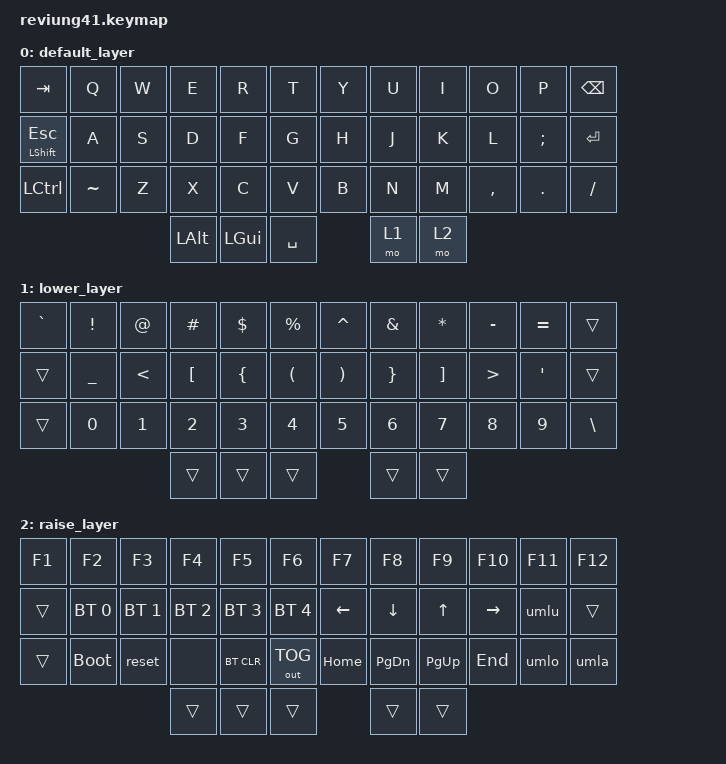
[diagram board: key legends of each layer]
/*
 * Copyright (c) 2020 The ZMK Contributors
 *
 * SPDX-License-Identifier: MIT
 */

#include <behaviors.dtsi>
#include <dt-bindings/zmk/keys.h>
#include <dt-bindings/zmk/bt.h>
#include <dt-bindings/zmk/rgb.h>
#include <dt-bindings/zmk/outputs.h>

/ {
  behavior {
    umla: umla {
      label = "umla";
      compatible = "zmk,behavior-macro";
      #binding-cells = <0>;
      bindings = <&macro_tap_time 20>
               , <&kp RALT>, <&kp DQT>, <&kp A>;
    };
    umlu: umlu {
      label = "umlu";
      compatible = "zmk,behavior-macro";
      #binding-cells = <0>;
      bindings = <&macro_tap_time 20>
               , <&kp RALT>, <&kp DQT>, <&kp U>;
    };
    umlo: umlo {
      label = "umlo";
      compatible = "zmk,behavior-macro";
      #binding-cells = <0>;
      bindings = <&macro_tap_time 20>
               ,  <&kp RALT>, <&kp DQT>, <&kp O>;
    };
  };

        keymap {
                compatible = "zmk,keymap";

                default_layer {
// -------------------------------------------------------------------------------------
// |    TAB    |  Q  |  W  |  E  |  R  |  T  |   |  Y  |  U   |  I  |  O  |  P  | BKSP|
// | SHFT(ESC) |  A  |  S  |  D  |  F  |  G  |   |  H  |  J   |  K  |  L  |  ;  | Ret |
// |    CTRL   |  ~  |  Z  |  X  |  C  |  V  |   |  B  |  N  |  M   |  ,  |  .  |  /  |
//                              | ALT | LWR | SPC | RSE  | ALT |
                        bindings = <
   &kp TAB        &kp Q      &kp W   &kp E   &kp R &kp T       &kp Y   &kp U   &kp I   &kp O      &kp P      &kp BSPC
   &mt LSHFT ESC  &kp A      &kp S   &kp D   &kp F &kp G       &kp H   &kp J   &kp K   &kp L      &kp SEMI   &kp RET
   &kp LCTRL      &kp TILDE  &kp Z   &kp X   &kp C &kp V       &kp B   &kp N   &kp M   &kp COMMA  &kp DOT    &kp FSLH
                                  &kp LALT   &kp LGUI   &kp SPACE   &mo 1    &mo 2
                        >;
                };

                lower_layer {
// ----------------------------------------------------------------------------------
// |  `  |  !  |  @  |  #  |  $  |  %  |   |  ^  |  &  |  *  |  -  |  +  | BKSP|
// |     |  _  |  <  |  [  |  {  |  (  |   |  )  |  }  |  ]  |  >  |  "  | RET |
// |     |  1  |  2  |  3  |  4  |  5  |   |  6  |  7  |  8  |  9  |  0  |  \  |
//                        | ALT | LWR | SPC | RSE  | ALT |
                        bindings = <
   &kp GRAVE  &kp EXCL   &kp AT  &kp HASH  &kp DLLR  &kp PRCNT      &kp CARET  &kp AMPS &kp STAR  &kp MINUS  &kp EQUAL &trans
   &trans     &kp UNDER  &kp LT  &kp LBKT  &kp LBRC  &kp LPAR       &kp RPAR   &kp RBRC &kp RBKT  &kp GT     &kp SQT   &trans
   &trans     &kp N0     &kp N1  &kp N2    &kp N3    &kp N4         &kp N5     &kp N6   &kp N7    &kp N8     &kp N9    &kp BSLH
                                  &trans   &trans   &trans   &trans   &trans
                        >;
                };

                raise_layer {
// ----------------------------------------------------------------------------------------
// | F1  | F2  | F3  | F4  | F5  | F6  |   | F7  | F8  | F9  | F10 | F11 | F12 |
// |     | BT0 | BT1 | BT2 | BT3 | BT4 |   | LFT | DWN | UP  | RGT |     |     |
// |     | boot| rst |     | CLR | TOG |   | HOME| PGDN| PGUP| ENA |     |     |
//                        | ALT | LWR | SPC | RSE  | ALT |
                        bindings = <
   &kp F1  &kp F2        &kp F3        &kp F4        &kp F5        &kp F6            &kp F7      &kp F8     &kp F9     &kp F10    &kp F11  &kp F12
   &trans  &bt BT_SEL 0  &bt BT_SEL 1  &bt BT_SEL 2  &bt BT_SEL 3  &bt BT_SEL 4      &kp LEFT    &kp DOWN   &kp UP     &kp RIGHT  &umlu    &trans
   &trans  &bootloader   &reset        &none         &bt BT_CLR    &out OUT_TOG      &kp HOME    &kp PG_DN  &kp PG_UP  &kp END    &umlo    &umla 
                                                        &trans   &trans   &trans   &trans   &trans
                        >;
                };

        };
};
